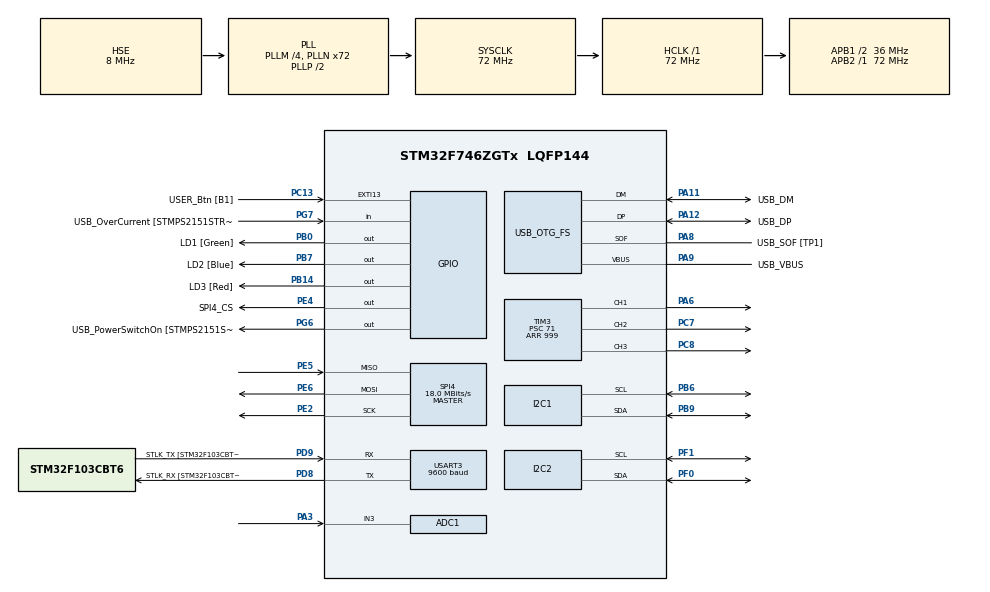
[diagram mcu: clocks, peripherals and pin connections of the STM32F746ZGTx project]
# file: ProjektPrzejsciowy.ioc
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ADC1.Channel-0\#ChannelRegularConversion=ADC_CHANNEL_3
ADC1.ClockPrescaler=ADC_CLOCK_SYNC_PCLK_DIV8
ADC1.ContinuousConvMode=ENABLE
ADC1.DMAContinuousRequests=ENABLE
ADC1.NbrOfConversionFlag=1
ADC1.Rank-0\#ChannelRegularConversion=1
ADC1.SamplingTime-0\#ChannelRegularConversion=ADC_SAMPLETIME_480CYCLES
ADC1.ScanConvMode=ADC_SCAN_DISABLE
ADC1.master=1
Dma.ADC1.0.Direction=DMA_PERIPH_TO_MEMORY
Dma.ADC1.0.FIFOMode=DMA_FIFOMODE_DISABLE
Dma.ADC1.0.Instance=DMA2_Stream0
Dma.ADC1.0.MemDataAlignment=DMA_MDATAALIGN_HALFWORD
Dma.ADC1.0.MemInc=DMA_MINC_ENABLE
Dma.ADC1.0.Mode=DMA_CIRCULAR
Dma.ADC1.0.PeriphDataAlignment=DMA_PDATAALIGN_HALFWORD
Dma.ADC1.0.PeriphInc=DMA_PINC_DISABLE
Dma.ADC1.0.Priority=DMA_PRIORITY_LOW
Dma.Request0=ADC1
I2C1.Timing=0x00808CD2
I2C2.Timing=0x00808CD2
Mcu.Family=STM32F7
Mcu.Name=STM32F746ZGTx
Mcu.Package=LQFP144
NVIC.ADC_IRQn=true\:0\:0\:false\:false\:true\:true\:true
NVIC.DMA2_Stream0_IRQn=true\:0\:0\:false\:false\:true\:false\:true
NVIC.EXTI15_10_IRQn=true\:0\:0\:false\:false\:true\:true\:true
NVIC.I2C1_ER_IRQn=true\:0\:0\:false\:false\:true\:true\:true
NVIC.I2C1_EV_IRQn=true\:0\:0\:false\:false\:true\:true\:true
NVIC.I2C2_ER_IRQn=true\:0\:0\:false\:false\:true\:true\:true
NVIC.I2C2_EV_IRQn=true\:0\:0\:false\:false\:true\:true\:true
NVIC.PriorityGroup=NVIC_PRIORITYGROUP_4
NVIC.SPI4_IRQn=true\:0\:0\:false\:false\:true\:true\:true
NVIC.TIM4_IRQn=true\:0\:0\:false\:false\:true\:true\:true
NVIC.USART3_IRQn=true\:0\:0\:false\:false\:true\:true\:true
PA1.GPIO_Label=RMII_REF_CLK [LAN8742A-CZ-TR_REFCLK0]
PA1.Signal=ETH_REF_CLK
PA10.GPIO_Label=USB_ID
PA10.Signal=USB_OTG_FS_ID
PA11.GPIO_Label=USB_DM
PA11.Mode=Device_Only
PA11.Signal=USB_OTG_FS_DM
PA12.GPIO_Label=USB_DP
PA12.Mode=Device_Only
PA12.Signal=USB_OTG_FS_DP
PA13.GPIO_Label=TMS
PA13.Mode=Serial_Wire
PA13.Signal=SYS_JTMS-SWDIO
PA14.GPIO_Label=TCK
PA14.Mode=Serial_Wire
PA14.Signal=SYS_JTCK-SWCLK
PA2.GPIO_Label=RMII_MDIO [LAN8742A-CZ-TR_MDIO]
PA2.Signal=ETH_MDIO
PA3.Signal=ADCx_IN3
PA6.Signal=S_TIM3_CH1
PA7.GPIO_Label=RMII_CRS_DV [LAN8742A-CZ-TR_CRS_DV]
PA7.Signal=ETH_CRS_DV
PA8.GPIO_Label=USB_SOF [TP1]
PA8.Mode=Activate_SOF_FS
PA8.Signal=USB_OTG_FS_SOF
PA9.GPIO_Label=USB_VBUS
PA9.Mode=Activate_VBUS
PA9.Signal=USB_OTG_FS_VBUS
PB0.GPIO_Label=LD1 [Green]
PB0.Signal=GPIO_Output
PB13.GPIO_Label=RMII_TXD1 [LAN8742A-CZ-TR_TXD1]
PB13.Signal=ETH_TXD1
PB14.GPIO_Label=LD3 [Red]
PB14.Signal=GPIO_Output
PB3.GPIO_Label=SW0
PB3.Signal=SYS_JTDO-SWO
PB6.Mode=I2C
PB6.Signal=I2C1_SCL
PB7.GPIO_Label=LD2 [Blue]
PB7.Signal=GPIO_Output
PB9.Mode=I2C
PB9.Signal=I2C1_SDA
PC1.GPIO_Label=RMII_MDC [LAN8742A-CZ-TR_MDC]
PC1.Signal=ETH_MDC
PC13.GPIO_Label=USER_Btn [B1]
PC13.Signal=GPXTI13
PC14/OSC32_IN.Mode=LSE-External-Oscillator
PC14/OSC32_IN.Signal=RCC_OSC32_IN
PC15/OSC32_OUT.Mode=LSE-External-Oscillator
PC15/OSC32_OUT.Signal=RCC_OSC32_OUT
PC4.GPIO_Label=RMII_RXD0 [LAN8742A-CZ-TR_RXD0]
PC4.Signal=ETH_RXD0
PC5.GPIO_Label=RMII_RXD1 [LAN8742A-CZ-TR_RXD1]
PC5.Signal=ETH_RXD1
PC7.Signal=S_TIM3_CH2
PC8.Signal=S_TIM3_CH3
PD8.GPIO_Label=STLK_RX [STM32F103CBT6_PA3]
PD8.Mode=Asynchronous
PD8.Signal=USART3_TX
PD9.GPIO_Label=STLK_TX [STM32F103CBT6_PA2]
PD9.Mode=Asynchronous
PD9.Signal=USART3_RX
PE2.Mode=Full_Duplex_Master
PE2.Signal=SPI4_SCK
PE4.GPIO_Label=SPI4_CS
PE4.Signal=GPIO_Output
PE5.Mode=Full_Duplex_Master
PE5.Signal=SPI4_MISO
PE6.Mode=Full_Duplex_Master
PE6.Signal=SPI4_MOSI
PF0.Mode=I2C
PF0.Signal=I2C2_SDA
PF1.Mode=I2C
PF1.Signal=I2C2_SCL
PG11.GPIO_Label=RMII_TX_EN [LAN8742A-CZ-TR_TXEN]
PG11.Signal=ETH_TX_EN
PG13.GPIO_Label=RMII_TXD0 [LAN8742A-CZ-TR_TXD0]
PG13.Signal=ETH_TXD0
PG6.GPIO_Label=USB_PowerSwitchOn [STMPS2151STR_EN]
PG6.Signal=GPIO_Output
PG7.GPIO_Label=USB_OverCurrent [STMPS2151STR_FAULT]
PG7.Signal=GPIO_Input
PH0/OSC_IN.GPIO_Label=MCO [STM32F103CBT6_PA8]
PH0/OSC_IN.Mode=HSE-External-Clock-Source
PH0/OSC_IN.Signal=RCC_OSC_IN
PH1/OSC_OUT.Mode=HSE-External-Clock-Source
PH1/OSC_OUT.Signal=RCC_OSC_OUT
ProjectManager.HeapSize=0x200
ProjectManager.StackSize=0x400
ProjectManager.TargetToolchain=STM32CubeIDE
RCC.48MHZClocksFreq_Value=24000000
RCC.AHBFreq_Value=72000000
RCC.APB1CLKDivider=RCC_HCLK_DIV2
RCC.APB1Freq_Value=36000000
RCC.APB1TimFreq_Value=72000000
RCC.APB2Freq_Value=72000000
RCC.APB2TimFreq_Value=72000000
RCC.CortexFreq_Value=72000000
RCC.HCLKFreq_Value=72000000
RCC.HSE_VALUE=8000000
RCC.HSI_VALUE=16000000
RCC.PLLM=4
RCC.PLLMUL=RCC_PLL_MUL9
RCC.PLLN=72
RCC.PLLQ=3
RCC.PRESCALERUSB=RCC_USBCLKSOURCE_PLL_DIV1_5
RCC.SYSCLKFreq_VALUE=72000000
RCC.SYSCLKSource=RCC_SYSCLKSOURCE_PLLCLK
RCC.SYSCLKSourceVirtual=RCC_SYSCLKSOURCE_PLLCLK
RCC.USBFreq_Value=48000000
RCC.VCOOutputFreq_Value=144000000
SH.ADCx_IN3.0=ADC1_IN3,IN3
SH.S_TIM3_CH1.0=TIM3_CH1,PWM Generation1 CH1
SH.S_TIM3_CH2.0=TIM3_CH2,PWM Generation2 CH2
SH.S_TIM3_CH3.0=TIM3_CH3,PWM Generation3 CH3
SPI4.BaudRatePrescaler=SPI_BAUDRATEPRESCALER_4
SPI4.CLKPhase=SPI_PHASE_2EDGE
SPI4.CLKPolarity=SPI_POLARITY_HIGH
SPI4.CalculateBaudRate=18.0 MBits/s
SPI4.DataSize=SPI_DATASIZE_8BIT
SPI4.Direction=SPI_DIRECTION_2LINES
SPI4.Mode=SPI_MODE_MASTER
SPI4.VirtualType=VM_MASTER
TIM3.Channel-PWM\ Generation1\ CH1=TIM_CHANNEL_1
TIM3.Channel-PWM\ Generation2\ CH2=TIM_CHANNEL_2
TIM3.Channel-PWM\ Generation3\ CH3=TIM_CHANNEL_3
TIM3.Period=999
TIM3.Prescaler=71
TIM3.Pulse-PWM\ Generation1\ CH1=500
TIM3.Pulse-PWM\ Generation2\ CH2=150
TIM3.Pulse-PWM\ Generation3\ CH3=500
TIM4.Period=49999
TIM4.Prescaler=35999
USART3.BaudRate=9600
USART3.VirtualMode-Asynchronous=VM_ASYNC
USB_OTG_FS.VirtualMode=Device_Only
VP_TIM3_VS_ClockSourceINT.Mode=Internal
VP_TIM4_VS_ClockSourceINT.Mode=Internal
board=NUCLEO-F746ZG

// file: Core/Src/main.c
/* USER CODE BEGIN Header */
/**
  ******************************************************************************
  * @file           : main.c
  * @brief          : Main program body
  ******************************************************************************
  * @attention
  *
  * <h2><center>&copy; Copyright (c) 2019 STMicroelectronics.
  * All rights reserved.</center></h2>
  *
  * This software component is licensed by ST under BSD 3-Clause license,
  * the "License"; You may not use this file except in compliance with the
  * License. You may obtain a copy of the License at:
  *                        opensource.org/licenses/BSD-3-Clause
  *
  ******************************************************************************
  */
/* USER CODE END Header */
#include "main.h"
#include "adc.h"
#include "dma.h"
#include "i2c.h"
#include "spi.h"
#include "tim.h"
#include "usart.h"
#include "usb_otg.h"
#include "gpio.h"

/* USER CODE BEGIN Includes */
#include "bmp280.h"
#include "bmp280_defs.h"

#include "M_M_functions.h"
//#include "stdio.h"
//#include "string.h"
/* USER CODE END Includes */

/* USER CODE BEGIN PD */
#define SPI_BUFFER_LEN 28
#define BMP280_DATA_INDEX 1
#define BMP280_ADDRESS_INDEX 2

/* USER CODE END PD */

/* USER CODE BEGIN PV */
/* Received message */
char Received_msg[9];

/* Set point values*/
uint8_t T_int= 18; //Temperatura
uint16_t L = 1000; //Natezenie swiatla w LUX
uint8_t H = 70; //Wilgotnosc w %

/* PRZYPISANIE WARTOSCI POSZCZEGOLNYCH CZLONOW REGULATORA */
float Kp = 0.25f; // czlon proporcjonalny
float Kd = 0.001f; // czlon calkujacy
float Ki = 0.08f; // czlon rozniczkujacy

/* INSTANCJA PID */
arm_pid_instance_f32 light_PID; // instancja PID swiatla

//i2c variables*******************************
int BH1750_int = 0; // wartosc pomiaru swiatla
int Uart_data[12]; // zmienna przechowujaca wiadomosc do wyslania portem szeregowym
char LCD_msg[16]; // wiadomosc do wyswietlenia na LCD
uint8_t i2c_size; // rozmiar wiadomosci
//********************************************
//ADC variables*******************************

uint16_t adc_value; //wartosc odczytu temperatury
uint16_t adc_data; //dane z czujnika

//********************************************

//spi variables*******************************
float temperatura = 0.0; //dane dla LCD

int8_t rslt;
	   struct bmp280_dev bmp;
	   struct bmp280_config conf;
	   struct bmp280_uncomp_data ucomp_data;
	   int32_t temp32;
	   uint32_t press32;
	   double press;
	   double temp;
	   float pres1=0,temp1=0;
	   char buffer[40];
	   int timer =0;
	   uint8_t size;
//*********************************************
/* USER CODE END PV */

void SystemClock_Config(void);
/* USER CODE BEGIN PFP */

//funkcja odczytujaca wartosci z czujnika temperatury
int8_t spi_reg_read(uint8_t cs, uint8_t reg_addr , uint8_t *reg_data , uint16_t length)
{
  HAL_StatusTypeDef status = HAL_OK;
  int32_t iError = BMP280_OK;
  uint8_t txarray[SPI_BUFFER_LEN] = {0,};
  uint8_t rxarray[SPI_BUFFER_LEN] = {0,};
  uint8_t stringpos;
 txarray[0] = reg_addr;
 HAL_GPIO_WritePin(SPI4_CS_GPIO_Port , SPI4_CS_Pin , GPIO_PIN_RESET );
 status = HAL_SPI_TransmitReceive( &hspi4 , (uint8_t*)(&txarray), (uint8_t*)(&rxarray), length+1, 5);
 while( hspi4.State == HAL_SPI_STATE_BUSY ) {};
 HAL_GPIO_WritePin( SPI4_CS_GPIO_Port , SPI4_CS_Pin , GPIO_PIN_SET );
 for (stringpos = 0; stringpos < length; stringpos++)
 {
	 *(reg_data + stringpos) = rxarray[stringpos + BMP280_DATA_INDEX];
 }
 if (status != HAL_OK)
 {
	 iError = (-1);
 }
 return (int8_t)iError;
}

int8_t spi_reg_write(uint8_t cs, uint8_t reg_addr , uint8_t *reg_data , uint16_t length)
{
	HAL_StatusTypeDef status = HAL_OK;
	int32_t iError = BMP280_OK;
	uint8_t txarray[SPI_BUFFER_LEN * BMP280_ADDRESS_INDEX];
	uint8_t stringpos;
	txarray[0] = reg_addr;

	for (stringpos = 0; stringpos < length; stringpos++)
	{
		txarray[stringpos+BMP280_DATA_INDEX] = reg_data[stringpos];
	}

	HAL_GPIO_WritePin( SPI4_CS_GPIO_Port , SPI4_CS_Pin , GPIO_PIN_RESET );
	status = HAL_SPI_Transmit( &hspi4 , (uint8_t*)(&txarray), length*2, 100);
	while( hspi4.State == HAL_SPI_STATE_BUSY )
	{

	};
	HAL_GPIO_WritePin( SPI4_CS_GPIO_Port , SPI4_CS_Pin , GPIO_PIN_SET );

	if (status != HAL_OK)
	{
		iError = (-1);
	}
	return (int8_t)iError;
}

/* USER CODE END PFP */

int main(void)
{
  /* USER CODE BEGIN 1 */

	/* PRZEKAZANIE WARTOSCI CZLONOW REGULATORA DO SAMEGO PID */
	  light_PID.Kp = Kp;
	  light_PID.Ki = Ki;
	  light_PID.Kd = Kd;

  /* USER CODE END 1 */

  /* MCU Configuration--------------------------------------------------------*/

  /* Reset of all peripherals, Initializes the Flash interface and the Systick. */
  HAL_Init();

  /* USER CODE BEGIN Init */

 // print_rslt(" bmp280_set_power_mode status", rslt);
  /* USER CODE END Init */

  /* Configure the system clock */
  SystemClock_Config();

  /* Initialize all configured peripherals */
  MX_GPIO_Init();
  MX_DMA_Init();
  MX_USART3_UART_Init();
  MX_USB_OTG_FS_PCD_Init();
  MX_ADC1_Init();
  MX_I2C1_Init();
  MX_SPI4_Init();
  MX_TIM4_Init();
  MX_TIM3_Init();
  MX_I2C2_Init();
  /* USER CODE BEGIN 2 */

  //bh1750 init*******************************************
  BH1750_Init(&hi2c1);
  BH1750_SetMode(CONTINUOUS_HIGH_RES_MODE);
  lcd_init();
  arm_pid_init_f32(&light_PID, 1);

  //******************************************************

  HAL_TIM_Base_Start_IT(&htim4);
  HAL_TIM_PWM_Start(&htim3, TIM_CHANNEL_3);
  HAL_TIM_PWM_Start(&htim3, TIM_CHANNEL_2);
  HAL_TIM_PWM_Start(&htim3, TIM_CHANNEL_1);
  HAL_ADC_Start_DMA(&hadc1, &adc_data, 1);
  HAL_UART_Receive_IT(&huart3, &Received_msg,9);

  //bmp280 init*******************************************
  bmp.delay_ms = HAL_Delay;
   bmp.dev_id = 0;
   bmp.intf = BMP280_SPI_INTF;
   bmp.read = spi_reg_read;
   bmp.write = spi_reg_write;
   rslt = bmp280_init(&bmp);
   rslt = bmp280_get_config(&conf, &bmp);
   conf.filter = BMP280_FILTER_COEFF_2;
   conf.os_temp = BMP280_OS_4X;
   conf.os_pres = BMP280_OS_4X;
   conf.odr = BMP280_ODR_1000_MS;
   rslt = bmp280_set_config(&conf, &bmp);
   rslt = bmp280_set_power_mode(BMP280_NORMAL_MODE, &bmp);
   //*****************************************************
  /* USER CODE END 2 */

  /* Infinite loop */
  /* USER CODE BEGIN WHILE */
  while (1)
  {

	  BH1750_int = ReadData();
	  SetValue(L, BH1750_int, &light_PID);

	  //zalaczanie wiatraka gdy temp jest wyzsza niz zadana
	  	    if(temp1 > T_int)
	  	    {

	  	    	__HAL_TIM_SET_COMPARE(&htim3, TIM_CHANNEL_1, 1000);
	  	    }
	  	    else
	  	    {

	  	    	__HAL_TIM_SET_COMPARE(&htim3, TIM_CHANNEL_1, 0);
	  	    }
	//zalaczanie pompy wody, gdy wilgotnosc jest zbyt mala
	  	    if(adc_value < H)
	  	    {

	  	    	__HAL_TIM_SET_COMPARE(&htim3, TIM_CHANNEL_2, 1000);
	  	    }
	  	    else
	  	    {

	  	    	__HAL_TIM_SET_COMPARE(&htim3, TIM_CHANNEL_2, 0);
	  	    }

			//odczyt danych z czujnika temp
	         rslt = bmp280_get_uncomp_data(&ucomp_data, &bmp);
	         rslt = bmp280_get_comp_temp_double(&temp, ucomp_data.uncomp_temp, &bmp);

	         temp1 = temp;
	         temperatura = temp1;

	         bmp.delay_ms(1000);
	         timer++;

    /* USER CODE END WHILE */

  }
}

void SystemClock_Config(void)
{
  RCC_OscInitTypeDef RCC_OscInitStruct = {0};
  RCC_ClkInitTypeDef RCC_ClkInitStruct = {0};
  RCC_PeriphCLKInitTypeDef PeriphClkInitStruct = {0};

  /** Configure LSE Drive Capability
  */
  HAL_PWR_EnableBkUpAccess();
  /** Configure the main internal regulator output voltage
  */
  __HAL_RCC_PWR_CLK_ENABLE();
  __HAL_PWR_VOLTAGESCALING_CONFIG(PWR_REGULATOR_VOLTAGE_SCALE3);
  /** Initializes the RCC Oscillators according to the specified parameters
  * in the RCC_OscInitTypeDef structure.
  */
  RCC_OscInitStruct.OscillatorType = RCC_OSCILLATORTYPE_HSE;
  RCC_OscInitStruct.HSEState = RCC_HSE_BYPASS;
  RCC_OscInitStruct.PLL.PLLState = RCC_PLL_ON;
  RCC_OscInitStruct.PLL.PLLSource = RCC_PLLSOURCE_HSE;
  RCC_OscInitStruct.PLL.PLLM = 4;
  RCC_OscInitStruct.PLL.PLLN = 72;
  RCC_OscInitStruct.PLL.PLLP = RCC_PLLP_DIV2;
  RCC_OscInitStruct.PLL.PLLQ = 3;
  if (HAL_RCC_OscConfig(&RCC_OscInitStruct) != HAL_OK)
  {
    Error_Handler();
  }
  /** Initializes the CPU, AHB and APB buses clocks
  */
  RCC_ClkInitStruct.ClockType = RCC_CLOCKTYPE_HCLK|RCC_CLOCKTYPE_SYSCLK
                              |RCC_CLOCKTYPE_PCLK1|RCC_CLOCKTYPE_PCLK2;
  RCC_ClkInitStruct.SYSCLKSource = RCC_SYSCLKSOURCE_PLLCLK;
  RCC_ClkInitStruct.AHBCLKDivider = RCC_SYSCLK_DIV1;
  RCC_ClkInitStruct.APB1CLKDivider = RCC_HCLK_DIV2;
  RCC_ClkInitStruct.APB2CLKDivider = RCC_HCLK_DIV1;

  if (HAL_RCC_ClockConfig(&RCC_ClkInitStruct, FLASH_LATENCY_2) != HAL_OK)
  {
    Error_Handler();
  }
  PeriphClkInitStruct.PeriphClockSelection = RCC_PERIPHCLK_USART3|RCC_PERIPHCLK_I2C1
                              |RCC_PERIPHCLK_I2C2|RCC_PERIPHCLK_CLK48;
  PeriphClkInitStruct.Usart3ClockSelection = RCC_USART3CLKSOURCE_PCLK1;
  PeriphClkInitStruct.I2c1ClockSelection = RCC_I2C1CLKSOURCE_PCLK1;
  PeriphClkInitStruct.I2c2ClockSelection = RCC_I2C2CLKSOURCE_PCLK1;
  PeriphClkInitStruct.Clk48ClockSelection = RCC_CLK48SOURCE_PLL;
  if (HAL_RCCEx_PeriphCLKConfig(&PeriphClkInitStruct) != HAL_OK)
  {
    Error_Handler();
  }
}

/* USER CODE BEGIN 4 */
void HAL_ADC_ConvCpltCallback (ADC_HandleTypeDef * hadc)
{

}

void HAL_GPIO_EXTI_Callback(uint16_t GPIO_Pin)
{

}
void HAL_TIM_PeriodElapsedCallback(TIM_HandleTypeDef *htim)
{
	if(htim->Instance == TIM4)
		{

			adc_value = 0.714*(4200.0 - adc_data)/21.0; //konwersja wartosci analogowej na uzyteczne dane

			RefreshLCD_3v(temperatura, adc_value, BH1750_int); //odswiezenie danych na wyswietlaczu

			i2c_size = sprintf(Uart_data, "L:%d,H:%d,T:%.2f\n\r", BH1750_int, adc_value, temperatura);

			HAL_UART_Transmit_IT(&huart3, (uint8_t*)Uart_data, i2c_size);
			//transmisja danych po porcie szeregowym

		}

}
void HAL_UART_RxCpltCallback(UART_HandleTypeDef *huart)
{
	char value1[4]; //light
	char value2[3]; //humm
	char value3[2]; //temp
	int value_i1, value_i2 ,value_i3;

	value1[0] = Received_msg[0];
	value1[1] = Received_msg[1];
	value1[2] = Received_msg[2];
	value1[3] = Received_msg[3];

	value2[0] = Received_msg[4];
	value2[1] = Received_msg[5];
	value2[2] = Received_msg[6];

	value3[0] = Received_msg[7];
	value3[1] = Received_msg[8];

	value_i1 = (atoi(value1));
	value_i2 = (atoi(value2));
	value_i3= (atoi(value3));

	L = value_i1;
	H = value_i2;
	T_int = value_i3;
	memset(Received_msg, 0, sizeof(Received_msg));

	HAL_UART_Receive_IT(&huart3, &Received_msg,9);
}

/* USER CODE END 4 */

void Error_Handler(void)
{
}

/************************ (C) COPYRIGHT STMicroelectronics *****END OF FILE****/
